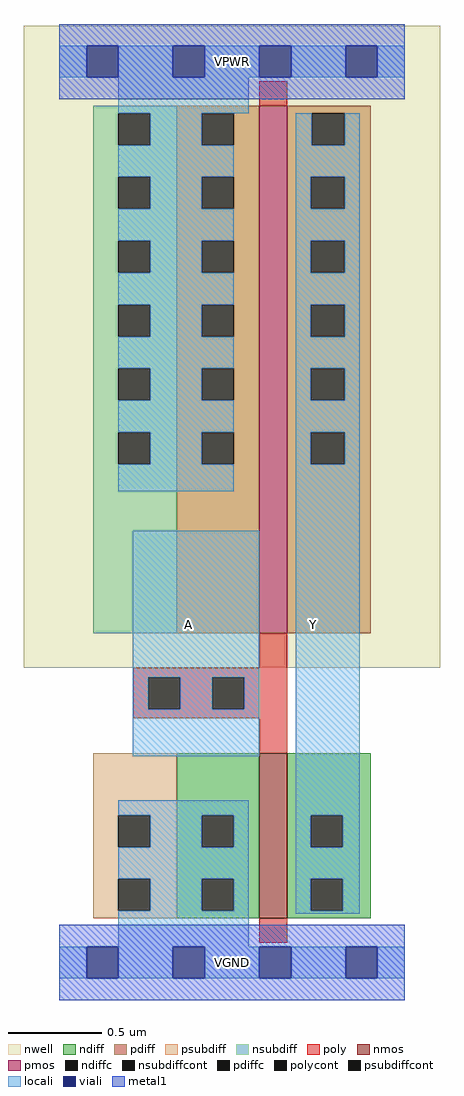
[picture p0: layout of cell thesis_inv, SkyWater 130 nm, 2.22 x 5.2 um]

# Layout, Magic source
magic
tech sky130A
magscale 1 2
<< nwell >>
rect -38 314 406 998
<< nmos >>
rect 213 47 243 223
<< pmos >>
rect 213 351 243 913
<< ndiff >>
rect 125 157 213 223
rect 125 123 152 157
rect 186 123 213 157
rect 125 89 213 123
rect 125 55 152 89
rect 186 55 213 89
rect 125 47 213 55
rect 243 157 332 223
rect 243 123 268 157
rect 302 123 332 157
rect 243 89 332 123
rect 243 55 268 89
rect 302 55 332 89
rect 243 47 332 55
<< pdiff >>
rect 125 905 213 913
rect 125 871 152 905
rect 186 871 213 905
rect 125 837 213 871
rect 125 803 152 837
rect 186 803 213 837
rect 125 769 213 803
rect 125 735 152 769
rect 186 735 213 769
rect 125 701 213 735
rect 125 667 152 701
rect 186 667 213 701
rect 125 633 213 667
rect 125 599 152 633
rect 186 599 213 633
rect 125 565 213 599
rect 125 531 152 565
rect 186 531 213 565
rect 125 351 213 531
rect 243 905 332 913
rect 243 871 269 905
rect 304 871 332 905
rect 243 837 332 871
rect 243 803 268 837
rect 304 803 332 837
rect 243 769 332 803
rect 243 735 268 769
rect 304 735 332 769
rect 243 701 332 735
rect 243 667 268 701
rect 304 667 332 701
rect 243 633 332 667
rect 243 599 268 633
rect 304 599 332 633
rect 243 565 332 599
rect 243 531 268 565
rect 304 531 332 565
rect 243 351 332 531
<< ndiffc >>
rect 152 123 186 157
rect 152 55 186 89
rect 268 123 302 157
rect 268 55 302 89
<< pdiffc >>
rect 152 871 186 905
rect 152 803 186 837
rect 152 735 186 769
rect 152 667 186 701
rect 152 599 186 633
rect 152 531 186 565
rect 269 871 304 905
rect 268 803 304 837
rect 268 735 304 769
rect 268 667 304 701
rect 268 599 304 633
rect 268 531 304 565
<< psubdiff >>
rect 36 157 125 223
rect 36 123 63 157
rect 97 123 125 157
rect 36 89 125 123
rect 36 55 63 89
rect 97 55 125 89
rect 36 47 125 55
<< nsubdiff >>
rect 36 905 125 913
rect 36 871 63 905
rect 97 871 125 905
rect 36 837 125 871
rect 36 803 63 837
rect 97 803 125 837
rect 36 769 125 803
rect 36 735 63 769
rect 97 735 125 769
rect 36 701 125 735
rect 36 667 63 701
rect 97 667 125 701
rect 36 633 125 667
rect 36 599 63 633
rect 97 599 125 633
rect 36 565 125 599
rect 36 531 63 565
rect 97 531 125 565
rect 36 351 125 531
<< psubdiffcont >>
rect 63 123 97 157
rect 63 55 97 89
<< nsubdiffcont >>
rect 63 871 97 905
rect 63 803 97 837
rect 63 735 97 769
rect 63 667 97 701
rect 63 599 97 633
rect 63 531 97 565
<< poly >>
rect 213 913 243 939
rect 213 314 243 351
rect 79 304 243 314
rect 79 270 95 304
rect 129 270 163 304
rect 197 270 243 304
rect 79 260 243 270
rect 213 223 243 260
rect 213 21 243 47
<< polycont >>
rect 95 270 129 304
rect 163 270 197 304
<< locali >>
rect 0 943 29 977
rect 63 943 121 977
rect 155 943 213 977
rect 247 943 305 977
rect 339 943 368 977
rect 63 905 202 943
rect 97 871 152 905
rect 63 837 186 871
rect 97 803 152 837
rect 63 769 186 803
rect 97 735 152 769
rect 63 701 186 735
rect 97 667 152 701
rect 63 633 186 667
rect 97 599 152 633
rect 63 565 186 599
rect 97 531 152 565
rect 63 502 186 531
rect 252 871 269 905
rect 304 871 320 905
rect 252 837 320 871
rect 252 803 268 837
rect 304 803 320 837
rect 252 769 320 803
rect 252 735 268 769
rect 304 735 320 769
rect 252 701 320 735
rect 252 667 268 701
rect 304 667 320 701
rect 252 633 320 667
rect 252 599 268 633
rect 304 599 320 633
rect 252 565 320 599
rect 252 531 268 565
rect 304 531 320 565
rect 78 304 213 460
rect 78 270 95 304
rect 129 270 163 304
rect 197 270 213 304
rect 78 220 213 270
rect 63 157 202 173
rect 97 123 152 157
rect 186 123 202 157
rect 63 89 202 123
rect 97 55 152 89
rect 186 55 202 89
rect 63 17 202 55
rect 252 157 320 531
rect 252 123 268 157
rect 302 123 320 157
rect 252 89 320 123
rect 252 55 268 89
rect 302 55 320 89
rect 252 52 320 55
rect 0 -17 29 17
rect 63 -17 121 17
rect 155 -17 213 17
rect 247 -17 305 17
rect 339 -17 368 17
<< viali >>
rect 29 943 63 977
rect 121 943 155 977
rect 213 943 247 977
rect 305 943 339 977
rect 29 -17 63 17
rect 121 -17 155 17
rect 213 -17 247 17
rect 305 -17 339 17
<< metal1 >>
rect 0 977 368 1000
rect 0 943 29 977
rect 63 943 121 977
rect 155 943 213 977
rect 247 943 305 977
rect 339 943 368 977
rect 0 920 368 943
rect 0 17 368 40
rect 0 -17 29 17
rect 63 -17 121 17
rect 155 -17 213 17
rect 247 -17 305 17
rect 339 -17 368 17
rect 0 -40 368 -17
<< labels >>
flabel metal1 s 0 920 368 1000 0 FreeSans 240 0 0 0 VPWR
port 2 nsew power bidirectional
flabel metal1 s 0 -40 368 40 0 FreeSans 240 0 0 0 VGND
port 3 nsew ground bidirectional
flabel locali s 121 343 155 377 0 FreeSans 240 0 0 0 A
port 0 nsew signal input
flabel locali s 254 343 288 377 0 FreeSans 240 0 0 0 Y
port 1 nsew signal output
<< properties >>
string FIXED_BBOX 0 0 368 960
string LEFclass CORE
string LEForigin 0 0
<< end >>
